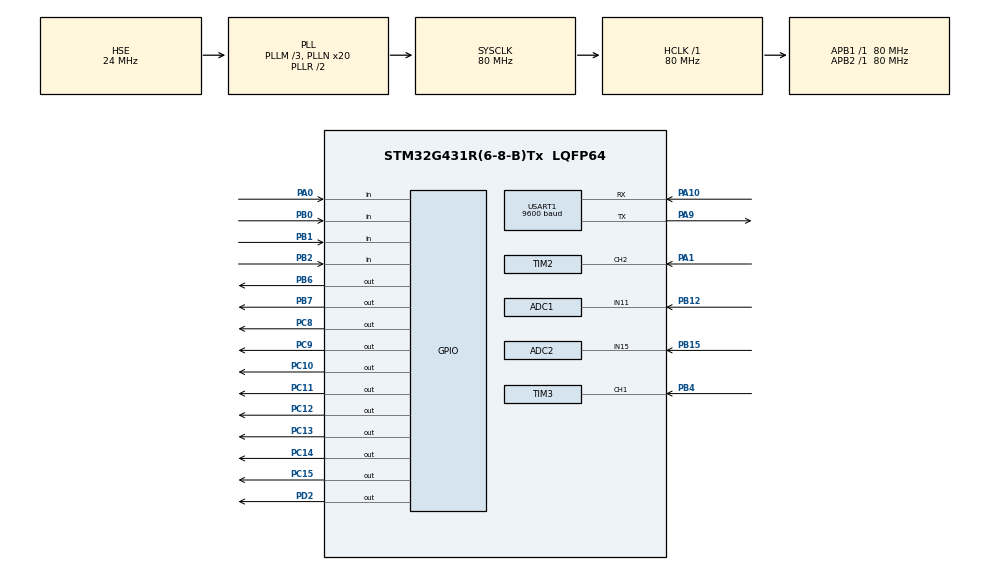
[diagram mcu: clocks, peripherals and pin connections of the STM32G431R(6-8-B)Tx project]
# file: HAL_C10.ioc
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ADC1.Channel-0\#ChannelRegularConversion=ADC_CHANNEL_11
ADC1.NbrOfConversionFlag=1
ADC1.OffsetNumber-0\#ChannelRegularConversion=ADC_OFFSET_NONE
ADC1.Rank-0\#ChannelRegularConversion=1
ADC1.SamplingTime-0\#ChannelRegularConversion=ADC_SAMPLETIME_247CYCLES_5
ADC1.master=1
ADC2.Channel-0\#ChannelRegularConversion=ADC_CHANNEL_15
ADC2.NbrOfConversionFlag=1
ADC2.OffsetNumber-0\#ChannelRegularConversion=ADC_OFFSET_NONE
ADC2.Rank-0\#ChannelRegularConversion=1
ADC2.SamplingTime-0\#ChannelRegularConversion=ADC_SAMPLETIME_247CYCLES_5
Dma.Request0=USART1_RX
Dma.Request1=USART1_TX
Dma.USART1_RX.0.Direction=DMA_PERIPH_TO_MEMORY
Dma.USART1_RX.0.EventEnable=DISABLE
Dma.USART1_RX.0.Instance=DMA1_Channel1
Dma.USART1_RX.0.MemDataAlignment=DMA_MDATAALIGN_BYTE
Dma.USART1_RX.0.MemInc=DMA_MINC_ENABLE
Dma.USART1_RX.0.Mode=DMA_NORMAL
Dma.USART1_RX.0.PeriphDataAlignment=DMA_PDATAALIGN_BYTE
Dma.USART1_RX.0.PeriphInc=DMA_PINC_DISABLE
Dma.USART1_RX.0.Polarity=HAL_DMAMUX_REQ_GEN_RISING
Dma.USART1_RX.0.Priority=DMA_PRIORITY_LOW
Dma.USART1_RX.0.RequestNumber=1
Dma.USART1_RX.0.SignalID=NONE
Dma.USART1_RX.0.SyncEnable=DISABLE
Dma.USART1_RX.0.SyncPolarity=HAL_DMAMUX_SYNC_NO_EVENT
Dma.USART1_RX.0.SyncRequestNumber=1
Dma.USART1_RX.0.SyncSignalID=NONE
Dma.USART1_TX.1.Direction=DMA_MEMORY_TO_PERIPH
Dma.USART1_TX.1.EventEnable=DISABLE
Dma.USART1_TX.1.Instance=DMA1_Channel2
Dma.USART1_TX.1.MemDataAlignment=DMA_MDATAALIGN_BYTE
Dma.USART1_TX.1.MemInc=DMA_MINC_ENABLE
Dma.USART1_TX.1.Mode=DMA_NORMAL
Dma.USART1_TX.1.PeriphDataAlignment=DMA_PDATAALIGN_BYTE
Dma.USART1_TX.1.PeriphInc=DMA_PINC_DISABLE
Dma.USART1_TX.1.Polarity=HAL_DMAMUX_REQ_GEN_RISING
Dma.USART1_TX.1.Priority=DMA_PRIORITY_LOW
Dma.USART1_TX.1.RequestNumber=1
Dma.USART1_TX.1.SignalID=NONE
Dma.USART1_TX.1.SyncEnable=DISABLE
Dma.USART1_TX.1.SyncPolarity=HAL_DMAMUX_SYNC_NO_EVENT
Dma.USART1_TX.1.SyncRequestNumber=1
Dma.USART1_TX.1.SyncSignalID=NONE
Mcu.Family=STM32G4
Mcu.Name=STM32G431R(6-8-B)Tx
Mcu.Package=LQFP64
NVIC.DMA1_Channel1_IRQn=true\:0\:0\:false\:false\:true\:false\:true
NVIC.DMA1_Channel2_IRQn=true\:0\:0\:false\:false\:true\:false\:true
NVIC.PriorityGroup=NVIC_PRIORITYGROUP_4
NVIC.TIM2_IRQn=true\:0\:0\:false\:false\:true\:true\:true
NVIC.TIM3_IRQn=true\:0\:0\:false\:false\:true\:true\:true
NVIC.USART1_IRQn=true\:0\:0\:false\:false\:true\:true\:true
PA0.Signal=GPIO_Input
PA1.Signal=S_TIM2_CH2
PA10.Mode=Asynchronous
PA10.Signal=USART1_RX
PA9.Mode=Asynchronous
PA9.Signal=USART1_TX
PB0.Signal=GPIO_Input
PB1.Signal=GPIO_Input
PB12.Mode=IN11-Single-Ended
PB12.Signal=ADC1_IN11
PB15.Mode=IN15-Single-Ended
PB15.Signal=ADC2_IN15
PB2.Signal=GPIO_Input
PB4.Signal=S_TIM3_CH1
PB6.Signal=GPIO_Output
PB7.Signal=GPIO_Output
PC10.PinState=GPIO_PIN_SET
PC10.Signal=GPIO_Output
PC11.PinState=GPIO_PIN_SET
PC11.Signal=GPIO_Output
PC12.PinState=GPIO_PIN_SET
PC12.Signal=GPIO_Output
PC13.PinState=GPIO_PIN_SET
PC13.Signal=GPIO_Output
PC14-OSC32_IN.PinState=GPIO_PIN_SET
PC14-OSC32_IN.Signal=GPIO_Output
PC15-OSC32_OUT.PinState=GPIO_PIN_SET
PC15-OSC32_OUT.Signal=GPIO_Output
PC8.PinState=GPIO_PIN_SET
PC8.Signal=GPIO_Output
PC9.PinState=GPIO_PIN_SET
PC9.Signal=GPIO_Output
PD2.Signal=GPIO_Output
PF0-OSC_IN.Mode=HSE-External-Oscillator
PF0-OSC_IN.Signal=RCC_OSC_IN
PF1-OSC_OUT.Mode=HSE-External-Oscillator
PF1-OSC_OUT.Signal=RCC_OSC_OUT
ProjectManager.HeapSize=0x200
ProjectManager.StackSize=0x400
ProjectManager.TargetToolchain=MDK-ARM V5.27
RCC.ADC12Freq_Value=80000000
RCC.AHBFreq_Value=80000000
RCC.APB1Freq_Value=80000000
RCC.APB1TimFreq_Value=80000000
RCC.APB2Freq_Value=80000000
RCC.APB2TimFreq_Value=80000000
RCC.CortexFreq_Value=80000000
RCC.EXTERNAL_CLOCK_VALUE=12288000
RCC.HCLKFreq_Value=80000000
RCC.HSE_VALUE=24000000
RCC.HSI48_VALUE=48000000
RCC.HSI_VALUE=16000000
RCC.LSE_VALUE=32768
RCC.PLLM=RCC_PLLM_DIV3
RCC.PLLN=20
RCC.PLLSourceVirtual=RCC_PLLSOURCE_HSE
RCC.SYSCLKFreq_VALUE=80000000
RCC.SYSCLKSource=RCC_SYSCLKSOURCE_PLLCLK
RCC.USBFreq_Value=80000000
RCC.VCOOutputFreq_Value=160000000
SH.S_TIM2_CH2.0=TIM2_CH2,Input_Capture2_from_TI2
SH.S_TIM3_CH1.0=TIM3_CH1,PWM_Input_1
TIM2.AutoReloadPreload=TIM_AUTORELOAD_PRELOAD_ENABLE
TIM2.Channel-Input_Capture2_from_TI2=TIM_CHANNEL_2
TIM2.PeriodNoDither=65535
TIM2.Prescaler=79
TIM3.AutoReloadPreload=TIM_AUTORELOAD_PRELOAD_ENABLE
TIM3.Prescaler=79
USART1.BaudRate=9600
USART1.VirtualMode-Asynchronous=VM_ASYNC
VP_SYS_VS_DBSignals.Mode=DisableDeadBatterySignals
VP_TIM2_VS_ClockSourceINT.Mode=Internal
VP_TIM3_VS_ClockSourceINT.Mode=Internal
board=custom

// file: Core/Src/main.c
/* USER CODE BEGIN Header */
/**
  ******************************************************************************
  * @file           : main.c
  * @brief          : Main program body
  ******************************************************************************
  * @attention
  *
  * <h2><center>&copy; Copyright (c) 2024 STMicroelectronics.
  * All rights reserved.</center></h2>
  *
  * This software component is licensed by ST under BSD 3-Clause license,
  * the "License"; You may not use this file except in compliance with the
  * License. You may obtain a copy of the License at:
  *                        opensource.org/licenses/BSD-3-Clause
  *
  ******************************************************************************
  */
/* USER CODE END Header */
#include "main.h"
#include "adc.h"
#include "dma.h"
#include "tim.h"
#include "usart.h"
#include "gpio.h"

/* USER CODE BEGIN Includes */
#include "led.h"
#include "lcd.h"
#include <stdio.h>
#include <string.h>
#include "i2c_hal.h"
/* USER CODE END Includes */

/* USER CODE BEGIN PTD */
typedef enum
{
	Key_Check,
	Key_Press,
	Key_Release,
	Key_Over
}Key_State;
/* USER CODE END PTD */

/* USER CODE BEGIN PD */
#define K1 HAL_GPIO_ReadPin(GPIOB, GPIO_PIN_0)
#define K2 HAL_GPIO_ReadPin(GPIOB, GPIO_PIN_1)
#define K3 HAL_GPIO_ReadPin(GPIOB, GPIO_PIN_2)
#define K4 HAL_GPIO_ReadPin(GPIOA, GPIO_PIN_0)

#define Press GPIO_PIN_RESET
#define Release GPIO_PIN_SET

/* USER CODE END PD */

/* USER CODE BEGIN PV */
uint8_t KeyNum, Str[20], RX[4];
Key_State KeyState = Key_Check;
uint16_t Key_Press_Time = 20, Freq_Value_3, Duty_Value_3, Freq_3, Duty_3, N;
float Vol_1, Vol_2, VIN, K;
uint8_t ShowSelect, T = 30, X, PramSelect, Flag_N, Flag_UART_Transmit, RecCount, Flag_LED;
extern DMA_HandleTypeDef hdma_usart1_rx;
/* USER CODE END PV */

void SystemClock_Config(void);
/* USER CODE BEGIN PFP */
void Key_Scan(void);
float getADC_R37(void);
float getADC_R38(void);
void HighLight(uint8_t Linex, uint8_t *LCD_Show, uint8_t pos, uint8_t add);
void LCD_Show(void);
/* USER CODE END PFP */

/* USER CODE BEGIN 0 */
//void HAL_UART_RxCpltCallback(UART_HandleTypeDef *huart)
//{
//	LED_TRG(4);
//	if(RX[0] == 'S' && RX[1] == 'T')
//	{
////		LED_TRG(4);
//		sprintf((char *)Str, "$%d\r\n", Freq_3);
//	    HAL_UART_Transmit_IT(&huart1, (uint8_t *)Str, 8);
//	}
//	HAL_UART_Receive_IT(&huart1, RX, 6);
//}

void HAL_UART_IdleCpltCallback(UART_HandleTypeDef *huart)
{
	RecCount = 10 - __HAL_DMA_GET_COUNTER(&hdma_usart1_rx);
	if(RX[0] == 'S' && RX[1] == 'T')
	{
		sprintf((char *)Str, "$%d\r\n", Freq_3);
	    HAL_UART_Transmit_DMA(&huart1, (uint8_t *)Str, strlen((char *)Str));
	}
	if(RX[0] == 'P' && RX[1] == 'A' && RX[2] == 'R' && RX[3] == 'A')
	{
		sprintf((char *)Str, "#%d,AO1\r\n", T);
	    HAL_UART_Transmit_DMA(&huart1, (uint8_t *)Str, strlen((char *)Str));
	}
	RecCount = 0;
	HAL_UART_Receive_DMA(&huart1, RX, 10);
}

void HAL_TIM_IC_CaptureCallback(TIM_HandleTypeDef *htim)
{
	if(htim->Instance == TIM3)
	{
		if(htim->Channel == HAL_TIM_ACTIVE_CHANNEL_1)
		{
			Freq_Value_3 = HAL_TIM_ReadCapturedValue(&htim3, TIM_CHANNEL_1);
			Freq_3 = 1000000 / Freq_Value_3;
		}
		else if(htim->Channel == HAL_TIM_ACTIVE_CHANNEL_2)
		{
			Duty_Value_3 = HAL_TIM_ReadCapturedValue(&htim3, TIM_CHANNEL_2);
			Duty_3 = Duty_Value_3 * 100.0f / Freq_Value_3;
			K = Duty_3 * 1.0f / 100.0f;//K有问�?
		}
	}
}
/* USER CODE END 0 */

int main(void)
{

  /* MCU Configuration--------------------------------------------------------*/

  /* Reset of all peripherals, Initializes the Flash interface and the Systick. */
  HAL_Init();

  /* Configure the system clock */
  SystemClock_Config();

  /* Initialize all configured peripherals */
  MX_GPIO_Init();
  MX_DMA_Init();
  MX_ADC1_Init();
  MX_ADC2_Init();
  MX_TIM2_Init();
  MX_TIM3_Init();
  MX_USART1_UART_Init();
  /* USER CODE BEGIN 2 */
  LED_Init();

  LCD_Init();
  LCD_Clear(Black);
  LCD_SetBackColor(Black);
  LCD_SetTextColor(White);

//  x24C02_Write(0x01, 0);

  HAL_UART_Receive_DMA(&huart1, RX, 10);
  __HAL_UART_ENABLE_IT(&huart1, UART_IT_IDLE);

  HAL_TIM_IC_Start_IT(&htim3, TIM_CHANNEL_1);
  HAL_TIM_IC_Start_IT(&htim3, TIM_CHANNEL_2);
  /* USER CODE END 2 */

  /* Infinite loop */
  /* USER CODE BEGIN WHILE */
  while (1)
  {
	  if(KeyState == Key_Over)
	  {
		  KeyState = Key_Check;
		  if(KeyNum == 1)
		  {
			 ShowSelect = !ShowSelect;
			 if(ShowSelect == 0)
			 {
				 if(Flag_N == 1)
				 {
					 N ++;
					 Flag_N = 0;
					 x24C02_Write(0x01, N);
				 }
			 }
		  }
		  else if(KeyNum == 2)
		  {
			  PramSelect = !PramSelect;
		  }
		  else if(KeyNum == 3)
		  {
			  if(PramSelect == 0)
			  {
				  T ++;
				  if(T == 41)T = 20;
			  }
			  else X = !X;
			  Flag_N = 1;
		  }
		  else if(KeyNum == 4)
		  {
			  if(PramSelect == 0)
			  {
				  T --;
				  if(T <= 19)T = 40;
			  }
			  else X = !X;
			  Flag_N = 1;
		  }
		  Key_Press_Time = 0;
	  }

	  Vol_2 = getADC_R38();
	  Vol_1 = getADC_R37();
	  if(X == 0)VIN = Vol_1;
	  else VIN = Vol_2;

	  if(VIN > K * 3.3f)
	  {
		  Flag_UART_Transmit = 1;
		  LED_ON(1);
	  }
	  else
	  {
		  Flag_UART_Transmit = 0;
		  LED_OFF(1);
	  }

	  if(T < Freq_3)Flag_LED = 1;
	  else Flag_LED = 0;

	  LCD_Show();
    /* USER CODE END WHILE */

  }
}

void SystemClock_Config(void)
{
  RCC_OscInitTypeDef RCC_OscInitStruct = {0};
  RCC_ClkInitTypeDef RCC_ClkInitStruct = {0};
  RCC_PeriphCLKInitTypeDef PeriphClkInit = {0};

  /** Configure the main internal regulator output voltage
  */
  HAL_PWREx_ControlVoltageScaling(PWR_REGULATOR_VOLTAGE_SCALE1);
  /** Initializes the RCC Oscillators according to the specified parameters
  * in the RCC_OscInitTypeDef structure.
  */
  RCC_OscInitStruct.OscillatorType = RCC_OSCILLATORTYPE_HSE;
  RCC_OscInitStruct.HSEState = RCC_HSE_ON;
  RCC_OscInitStruct.PLL.PLLState = RCC_PLL_ON;
  RCC_OscInitStruct.PLL.PLLSource = RCC_PLLSOURCE_HSE;
  RCC_OscInitStruct.PLL.PLLM = RCC_PLLM_DIV3;
  RCC_OscInitStruct.PLL.PLLN = 20;
  RCC_OscInitStruct.PLL.PLLP = RCC_PLLP_DIV2;
  RCC_OscInitStruct.PLL.PLLQ = RCC_PLLQ_DIV2;
  RCC_OscInitStruct.PLL.PLLR = RCC_PLLR_DIV2;
  if (HAL_RCC_OscConfig(&RCC_OscInitStruct) != HAL_OK)
  {
    Error_Handler();
  }
  /** Initializes the CPU, AHB and APB buses clocks
  */
  RCC_ClkInitStruct.ClockType = RCC_CLOCKTYPE_HCLK|RCC_CLOCKTYPE_SYSCLK
                              |RCC_CLOCKTYPE_PCLK1|RCC_CLOCKTYPE_PCLK2;
  RCC_ClkInitStruct.SYSCLKSource = RCC_SYSCLKSOURCE_PLLCLK;
  RCC_ClkInitStruct.AHBCLKDivider = RCC_SYSCLK_DIV1;
  RCC_ClkInitStruct.APB1CLKDivider = RCC_HCLK_DIV1;
  RCC_ClkInitStruct.APB2CLKDivider = RCC_HCLK_DIV1;

  if (HAL_RCC_ClockConfig(&RCC_ClkInitStruct, FLASH_LATENCY_2) != HAL_OK)
  {
    Error_Handler();
  }
  /** Initializes the peripherals clocks
  */
  PeriphClkInit.PeriphClockSelection = RCC_PERIPHCLK_USART1|RCC_PERIPHCLK_ADC12;
  PeriphClkInit.Usart1ClockSelection = RCC_USART1CLKSOURCE_PCLK2;
  PeriphClkInit.Adc12ClockSelection = RCC_ADC12CLKSOURCE_SYSCLK;
  if (HAL_RCCEx_PeriphCLKConfig(&PeriphClkInit) != HAL_OK)
  {
    Error_Handler();
  }
}

/* USER CODE BEGIN 4 */
void LCD_Show(void)
{
	if(ShowSelect == 0)//数据显示
	  {
		  LCD_DisplayStringLine(Line1, (uint8_t *)"       Main  ");
		  sprintf((char *)Str, "AO1: %.2fV    ", Vol_1);
		  LCD_DisplayStringLine(Line3, Str);
		  sprintf((char *)Str, "AO2: %.2fV    ", Vol_2);
		  LCD_DisplayStringLine(Line4, Str);
		  sprintf((char *)Str, "PWM2: %d%%    ", Duty_3);
		  LCD_DisplayStringLine(Line5, Str);
		  sprintf((char *)Str, "Temp: %d.C  ", Freq_3);
		  LCD_DisplayStringLine(Line6, Str);
		  sprintf((char *)Str, "N: %d         ", N);
		  LCD_DisplayStringLine(Line7, Str);
	  }
	  else //参数设置
	  {
		  LCD_DisplayStringLine(Line1, (uint8_t *)"       Para");

		  if(PramSelect == 0)
		  {
			  sprintf((char *)Str, "T:%d                ", T);
			  HighLight(3, Str, 0, 20);
			  if(X == 0)LCD_DisplayStringLine(Line4, (uint8_t *)"X:AO1               ");
			  else LCD_DisplayStringLine(Line4, (uint8_t *)"X:AO2              ");
			  LCD_DisplayStringLine(Line5, (uint8_t *)"                    ");
			  LCD_DisplayStringLine(Line6, (uint8_t *)"                    ");
			  LCD_DisplayStringLine(Line7, (uint8_t *)"                    ");
		  }
		  else
		  {
			  sprintf((char *)Str, "T:%d                 ", T);
			  LCD_DisplayStringLine(Line3, Str);
			  if(X == 0)HighLight(4, (uint8_t *)"X:AO1               ", 0, 20);
			  else HighLight(4, (uint8_t *)"X:AO2               ", 0, 20);
			  LCD_DisplayStringLine(Line5, (uint8_t *)"                    ");
			  LCD_DisplayStringLine(Line6, (uint8_t *)"                    ");
			  LCD_DisplayStringLine(Line7, (uint8_t *)"                    ");
		  }
	  }
}

void HighLight(uint8_t Linex, uint8_t *LCD_Show, uint8_t pos, uint8_t add)
{
	uint8_t i;
	for(i = 0; i < 20; i++)
	{
		if(i != pos)LCD_DisplayChar(Linex * 24, 320 - (16 * i),LCD_Show[i]);
		else i += add;
	}
	LCD_SetBackColor(White);
	LCD_SetTextColor(Black);
	for(i = 0; i < add; i++)
	{
		LCD_DisplayChar(Linex * 24, 320 - (16 * (pos + i)),LCD_Show[i + pos]);
	}
	LCD_SetBackColor(Black);
	LCD_SetTextColor(White);
}

float getADC_R37(void)
{
	uint16_t adc;
	HAL_ADC_Start(&hadc2);
	HAL_ADC_PollForConversion(&hadc2, 10);
    adc = HAL_ADC_GetValue(&hadc2);
	HAL_ADC_Stop(&hadc2);
	return (adc * 3.3f / 4096.0f);
}

float getADC_R38(void)
{
	uint16_t adc;
	HAL_ADC_Start(&hadc1);
	HAL_ADC_PollForConversion(&hadc1, 10);
    adc = HAL_ADC_GetValue(&hadc1);
	HAL_ADC_Stop(&hadc1);
	return (adc * 3.3f / 4096.0f);
}

void Key_Scan(void)
{
	switch (KeyState)
	{
		case Key_Check:
		{
			if(K1 == Press || K2 == Press ||K3 == Press ||K4 == Press)
			{
				KeyState = Key_Press;
			}
		}
		break;
		case Key_Press:
		{
			if(K1 == Press)KeyNum = 1;
			else if(K2 == Press)KeyNum = 2;
			else if(K3 == Press)KeyNum = 3;
			else if(K4 == Press)KeyNum = 4;
			KeyState = Key_Release;
		}
		break;
		case Key_Release:
		{
			if(K1 == Press || K2 == Press ||K3 == Press ||K4 == Press)
			{
				Key_Press_Time += 10;
				if(Key_Press_Time >= 800 && K3 == Press)
				{
					if(PramSelect == 0)
					{
						T ++;
						if(T == 41)T = 20;
					}
				}
				if(Key_Press_Time >= 800 && K4 == Press)
				{
					if(PramSelect == 0)
					{
						T --;
						if(T == 19)T = 40;
					}
				}
			}
			else KeyState = Key_Over;
		}
		break;
		default:
		break;
	}
}
/* USER CODE END 4 */

void Error_Handler(void)
{
  __disable_irq();
  while (1)
  {
  }
}

/************************ (C) COPYRIGHT STMicroelectronics *****END OF FILE****/
